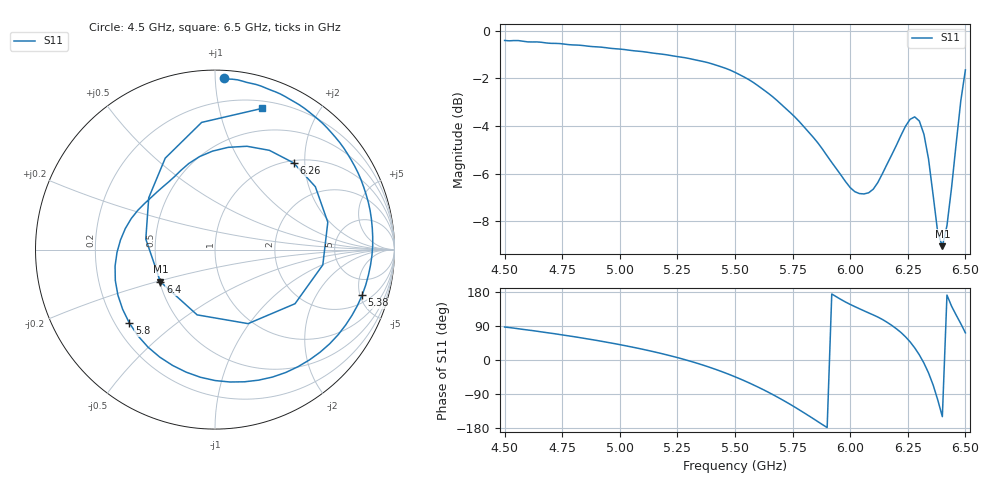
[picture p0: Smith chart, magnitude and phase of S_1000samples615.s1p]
! TOUCHSTONE file generated by CST MICROWAVE STUDIO
! Date and time: Fri Oct 28 18:59:41 2022
! Project name: L.cst
! Parameters = {Di=1.27; Epsilon_r=1.56; InnerDiameter=1.27; Length=2; Lf=10; Lg=60; OuterConductorThickness=0.2921; OuterDiameter=3.6; Wf=3; Wp=41.2; de=1.5; df=6.8; g=0.8; gx=4.76435; gy=2.09814; h=2.34; hf=1.524; px=10.2579; py=13.3482; w=9.7; wx=5.49355; wy=11.25}
! Header version: 2018
! Port assignment regex: !\s*Touchstone port\s*([0-9]+)\s*=\s*(CST MWS port|CST DS port)\s*([0-9]+|Zmin|Zmax)\s*\(\"(.*)\"\)(\s*mode\s*([0-9]+))?.*
! Touchstone port assignment:
! Touchstone port 1 = CST MWS port 1 ("")
# GHz S DB R 50
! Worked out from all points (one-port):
!   101 points, 4.5 GHz to 6.5 GHz, reference 50 ohm
!   lowest |S11| = -9.0 dB at 6.4 GHz (marker M1), VSWR 2.09, Z = 25.3 - j10.3 ohm
!   |S11| at or under -10 dB: nowhere
!   S11 on the Smith chart (normalised r, x): 4.5 GHz: 0.05, +1.05; 5.38 GHz: 2.71, -5.23; 5.8 GHz: 0.26, -0.35; 6.26 GHz: 1.05, +1.76; 6.4 GHz: 0.51, -0.21; 6.5 GHz: 0.27, +1.35
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4.5  -0.40 87.0
4.76  -0.56 65.3
5  -0.76 40.6
5.26  -1.09 4.7
5.38  -1.33 -17.2
5.5  -1.74 -44.3
5.58  -2.17 -65.7
5.64  -2.59 -83.6
5.7  -3.08 -103.2
5.76  -3.62 -124.5
5.8  -4.04 -139.5
5.88  -4.97 -170.6
6  -6.58 146.7
6.08  -6.80 124.3
6.16  -5.60 99.6
6.22  -4.40 72.8
6.26  -3.71 47.8
6.3  -3.78 13.7
6.32  -4.34 -8.1
6.34  -5.38 -34.1
6.36  -6.90 -65.9
6.38  -8.47 -105.3
6.4  -9.04 -149.5
6.42  -8.18 171.4
6.44  -6.58 142.0
6.46  -4.73 118.6
6.48  -2.94 96.0
6.5  -1.64 71.7
